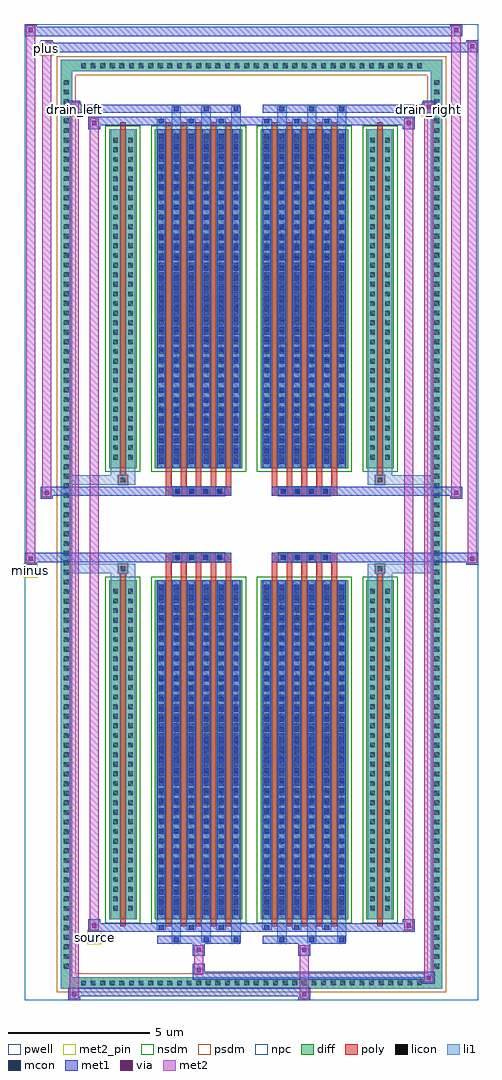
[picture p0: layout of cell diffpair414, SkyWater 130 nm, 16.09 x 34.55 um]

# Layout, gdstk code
import gdstk
lib = gdstk.Library(unit=1e-6, precision=5e-09)
def R(c, l, rs):  # rectangles x0, y0, x1, y1
    for r in rs: c.add(gdstk.rectangle(r[:2], r[2:], *l))
def A(c, l, x, y, w, h, nx, ny, dx, dy):  # array of equal rectangles
    R(c, l, [(x+i*dx, y+j*dy, x+i*dx+w, y+j*dy+h) for i in range(nx) for j in range(ny)])
def P(c, l, *ps):  # polygons
    for p in ps: c.add(gdstk.Polygon(p, *l))
pwell = (64, 44)
diff = (65, 20)
poly = (66, 20)
licon = (66, 44)
li1 = (67, 20)
mcon = (67, 44)
met1 = (68, 20)
via = (68, 44)
met2_pin = (69, 16)
met2 = (69, 20)
nsdm = (93, 44)
psdm = (94, 20)
npc = (95, 20)

diffpair414 = lib.new_cell('diffpair414')
R(diffpair414, pwell, [(-8.03,-16.84,8.03,17.71), (-5.35,-15.03,-0.01,-0.805), (0.01,-15.03,5.35,-0.805), (-5.35,0.805,-0.01,15.03), (0.01,0.805,5.35,15.03)])
A(diffpair414, diff, -6.155, -16.44, 0.41, 0.41, 36, 2, 0.34, 32.47)
A(diffpair414, diff, -6.76, -15.845, 0.41, 0.41, 1, 93, 0, 0.34)
A(diffpair414, diff, 6.35, -15.845, 0.41, 0.41, 1, 93, 0, 0.34)
R(diffpair414, diff, [(-6.155,-16.44,6.155,-16.03), (-6.76,-15.845,-6.35,15.845), (6.35,-15.845,6.76,15.845), (-5.04,-13.985,-4.06,-1.985), (-3.42,-13.985,-0.32,-1.985), (0.32,-13.985,3.42,-1.985), (4.06,-13.985,5.04,-1.985), (-5.04,1.985,-4.06,13.985), (-3.42,1.985,-0.32,13.985), (0.32,1.985,3.42,13.985), (4.06,1.985,5.04,13.985), (-6.155,16.03,6.155,16.44)])
P(diffpair414, diff, [(6.76,16.44),(-6.76,16.44),(-6.76,-16.03),(-6.35,-16.03),(-6.35,16.03),(6.35,16.03),(6.35,-16.03),(-6.35,-16.03),(-6.76,-16.03),(-6.76,-16.44),(6.76,-16.44)])
A(diffpair414, poly, -3.03, -14.235, 0.2, 12.5, 5, 2, 0.53, 15.97)
A(diffpair414, poly, 0.71, -14.235, 0.2, 12.5, 5, 2, 0.53, 15.97)
A(diffpair414, poly, -3.03, -1.735, 0.2, 0.4, 5, 2, 0.53, 3.07)
A(diffpair414, poly, 0.71, -1.735, 0.2, 0.4, 5, 2, 0.53, 3.07)
A(diffpair414, poly, -2.785, -1.335, 0.33, 0.33, 4, 2, 0.5, 2.34)
A(diffpair414, poly, 0.955, -1.335, 0.33, 0.33, 4, 2, 0.5, 2.34)
R(diffpair414, poly, [(-4.65,-14.235,-4.45,-1.735), (4.45,-14.235,4.65,-1.735), (-4.715,-1.735,-4.385,-1.405), (-4.715,-1.735,-4.385,-1.405), (4.385,-1.735,4.715,-1.405), (4.385,-1.735,4.715,-1.405), (-3.03,-1.335,-0.71,-1.005), (0.71,-1.335,3.03,-1.005), (-3.03,1.005,-0.71,1.335), (0.71,1.005,3.03,1.335), (-4.715,1.405,-4.385,1.735), (-4.715,1.405,-4.385,1.735), (4.385,1.405,4.715,1.735), (4.385,1.405,4.715,1.735), (-4.65,1.735,-4.45,14.235), (4.45,1.735,4.65,14.235)])
A(diffpair414, licon, -6.035, -16.32, 0.17, 0.17, 36, 2, 0.34, 32.47)
A(diffpair414, licon, -6.64, -15.725, 0.17, 0.17, 1, 93, 0, 0.34)
A(diffpair414, licon, 6.47, -15.725, 0.17, 0.17, 1, 93, 0, 0.34)
A(diffpair414, licon, -4.9, -13.68, 0.17, 0.17, 1, 34, 0, 0.34)
A(diffpair414, licon, -4.37, -13.68, 0.17, 0.17, 1, 34, 0, 0.34)
A(diffpair414, licon, -3.28, -13.68, 0.17, 0.17, 6, 34, 0.53, 0.34)
A(diffpair414, licon, 0.46, -13.68, 0.17, 0.17, 6, 34, 0.53, 0.34)
A(diffpair414, licon, 4.2, -13.68, 0.17, 0.17, 1, 34, 0, 0.34)
A(diffpair414, licon, 4.73, -13.68, 0.17, 0.17, 1, 34, 0, 0.34)
A(diffpair414, licon, -2.705, -1.255, 0.17, 0.17, 4, 2, 0.5, 2.34)
A(diffpair414, licon, 1.035, -1.255, 0.17, 0.17, 4, 2, 0.5, 2.34)
A(diffpair414, licon, -4.9, 2.29, 0.17, 0.17, 1, 34, 0, 0.34)
A(diffpair414, licon, -4.37, 2.29, 0.17, 0.17, 1, 34, 0, 0.34)
A(diffpair414, licon, -3.28, 2.29, 0.17, 0.17, 6, 34, 0.53, 0.34)
A(diffpair414, licon, 0.46, 2.29, 0.17, 0.17, 6, 34, 0.53, 0.34)
A(diffpair414, licon, 4.2, 2.29, 0.17, 0.17, 1, 34, 0, 0.34)
A(diffpair414, licon, 4.73, 2.29, 0.17, 0.17, 1, 34, 0, 0.34)
R(diffpair414, licon, [(-4.635,-1.655,-4.465,-1.485), (4.465,-1.655,4.635,-1.485), (-4.635,1.485,-4.465,1.655), (4.465,1.485,4.635,1.655)])
A(diffpair414, li1, -6.115, -16.4, 0.33, 0.33, 36, 2, 0.34, 32.47)
A(diffpair414, li1, -6.72, -15.805, 0.33, 0.33, 1, 93, 0, 0.34)
A(diffpair414, li1, 6.39, -15.805, 0.33, 0.33, 1, 93, 0, 0.34)
A(diffpair414, li1, -2.83, -14.79, 0.33, 0.805, 3, 2, 1.06, 28.775)
A(diffpair414, li1, -2.75, -14.79, 0.17, 0.17, 3, 2, 1.06, 29.41)
A(diffpair414, li1, 0.91, -14.79, 0.33, 0.805, 3, 2, 1.06, 28.775)
A(diffpair414, li1, 0.99, -14.79, 0.17, 0.17, 3, 2, 1.06, 29.41)
A(diffpair414, li1, -3.36, -14.36, 0.33, 0.375, 3, 2, 1.06, 28.345)
A(diffpair414, li1, -3.28, -14.36, 0.17, 0.17, 3, 2, 1.06, 28.55)
A(diffpair414, li1, 0.38, -14.36, 0.33, 0.375, 3, 2, 1.06, 28.345)
A(diffpair414, li1, 0.46, -14.36, 0.17, 0.17, 3, 2, 1.06, 28.55)
A(diffpair414, li1, -3.36, -13.985, 0.33, 12, 6, 2, 0.53, 15.97)
A(diffpair414, li1, 0.38, -13.985, 0.33, 12, 6, 2, 0.53, 15.97)
A(diffpair414, li1, -3.28, -13.83, 0.17, 0.17, 6, 33, 0.53, 0.36)
A(diffpair414, li1, -3.28, -13.83, 0.17, 11.69, 6, 2, 0.53, 15.97)
A(diffpair414, li1, 0.46, -13.83, 0.17, 0.17, 6, 33, 0.53, 0.36)
A(diffpair414, li1, 0.46, -13.83, 0.17, 11.69, 6, 2, 0.53, 15.97)
A(diffpair414, li1, -4.98, -13.76, 0.33, 0.33, 1, 34, 0, 0.34)
A(diffpair414, li1, -4.45, -13.76, 0.33, 0.33, 1, 34, 0, 0.34)
A(diffpair414, li1, -3.36, -13.76, 0.33, 0.33, 6, 34, 0.53, 0.34)
A(diffpair414, li1, 0.38, -13.76, 0.33, 0.33, 6, 34, 0.53, 0.34)
A(diffpair414, li1, 4.12, -13.76, 0.33, 0.33, 1, 34, 0, 0.34)
A(diffpair414, li1, 4.65, -13.76, 0.33, 0.33, 1, 34, 0, 0.34)
A(diffpair414, li1, -2.785, -1.335, 0.33, 0.33, 4, 2, 0.5, 2.34)
A(diffpair414, li1, 0.955, -1.335, 0.33, 0.33, 4, 2, 0.5, 2.34)
A(diffpair414, li1, -3.28, 2.14, 0.17, 0.17, 6, 33, 0.53, 0.36)
A(diffpair414, li1, 0.46, 2.14, 0.17, 0.17, 6, 33, 0.53, 0.36)
A(diffpair414, li1, -4.98, 2.21, 0.33, 0.33, 1, 34, 0, 0.34)
A(diffpair414, li1, -4.45, 2.21, 0.33, 0.33, 1, 34, 0, 0.34)
A(diffpair414, li1, -3.36, 2.21, 0.33, 0.33, 6, 34, 0.53, 0.34)
A(diffpair414, li1, 0.38, 2.21, 0.33, 0.33, 6, 34, 0.53, 0.34)
A(diffpair414, li1, 4.12, 2.21, 0.33, 0.33, 1, 34, 0, 0.34)
A(diffpair414, li1, 4.65, 2.21, 0.33, 0.33, 1, 34, 0, 0.34)
R(diffpair414, li1, [(-6.76,-16.44,-6.35,-16.03), (-6.76,-16.44,-6.35,-16.03), (-6.35,-16.44,6.35,-16.03), (6.35,-16.44,6.76,-16.03), (6.35,-16.44,6.76,-16.03), (-6.76,-16.03,-6.35,16.03), (6.35,-16.03,6.76,16.03), (-4.98,-13.985,-4.65,-1.985), (-4.45,-13.985,-4.12,-1.985), (4.12,-13.985,4.45,-1.985), (4.65,-13.985,4.98,-1.985), (-4.98,-1.985,-4.65,-1.405), (-4.45,-1.985,-4.12,-1.405), (4.12,-1.985,4.45,-1.405), (4.65,-1.985,4.98,-1.405), (-6.76,-1.735,-4.715,-1.405), (-4.98,-1.735,-4.715,-1.405), (-4.715,-1.735,-4.385,-1.405), (-4.385,-1.735,-4.12,-1.405), (4.12,-1.735,4.385,-1.405), (4.385,-1.735,4.715,-1.405), (4.385,-1.735,6.76,-1.405), (4.715,-1.735,4.98,-1.405), (-6.76,1.405,-4.715,1.735), (-4.98,1.405,-4.715,1.735), (-4.98,1.405,-4.65,1.985), (-4.715,1.405,-4.385,1.735), (-4.45,1.405,-4.12,1.985), (-4.385,1.405,-4.12,1.735), (4.12,1.405,4.385,1.735), (4.12,1.405,4.45,1.985), (4.385,1.405,4.715,1.735), (4.385,1.405,6.76,1.735), (4.65,1.405,4.98,1.985), (4.715,1.405,4.98,1.735), (-4.98,1.985,-4.65,13.985), (-4.45,1.985,-4.12,13.985), (4.12,1.985,4.45,13.985), (4.65,1.985,4.98,13.985), (-6.76,16.03,-6.35,16.44), (-6.76,16.03,-6.35,16.44), (-6.35,16.03,6.35,16.44), (6.35,16.03,6.76,16.44), (6.35,16.03,6.76,16.44)])
A(diffpair414, mcon, -2.75, -14.79, 0.17, 0.17, 3, 2, 1.06, 29.41)
A(diffpair414, mcon, 0.99, -14.79, 0.17, 0.17, 3, 2, 1.06, 29.41)
A(diffpair414, mcon, -3.28, -14.36, 0.17, 0.17, 3, 2, 1.06, 28.55)
A(diffpair414, mcon, 0.46, -14.36, 0.17, 0.17, 3, 2, 1.06, 28.55)
A(diffpair414, mcon, -3.28, -13.83, 0.17, 0.17, 6, 33, 0.53, 0.36)
A(diffpair414, mcon, 0.46, -13.83, 0.17, 0.17, 6, 33, 0.53, 0.36)
A(diffpair414, mcon, -2.705, -1.255, 0.17, 0.17, 4, 2, 0.5, 2.34)
A(diffpair414, mcon, 1.035, -1.255, 0.17, 0.17, 4, 2, 0.5, 2.34)
A(diffpair414, mcon, -3.28, 2.14, 0.17, 0.17, 6, 33, 0.53, 0.36)
A(diffpair414, mcon, 0.46, 2.14, 0.17, 0.17, 6, 33, 0.53, 0.36)
A(diffpair414, met1, -2.81, -14.85, 0.29, 0.29, 3, 2, 1.06, 29.41)
A(diffpair414, met1, 0.93, -14.85, 0.29, 0.29, 3, 2, 1.06, 29.41)
A(diffpair414, met1, -3.34, -14.42, 0.29, 0.29, 3, 2, 1.06, 28.55)
A(diffpair414, met1, 0.4, -14.42, 0.29, 0.29, 3, 2, 1.06, 28.55)
A(diffpair414, met1, -3.34, -13.985, 0.29, 12, 6, 2, 0.53, 15.97)
A(diffpair414, met1, 0.4, -13.985, 0.29, 12, 6, 2, 0.53, 15.97)
A(diffpair414, met1, -3.34, -13.89, 0.29, 0.29, 6, 33, 0.53, 0.36)
A(diffpair414, met1, 0.4, -13.89, 0.29, 0.29, 6, 33, 0.53, 0.36)
A(diffpair414, met1, -2.765, -1.315, 0.29, 0.29, 4, 2, 0.5, 2.34)
A(diffpair414, met1, 0.975, -1.315, 0.29, 0.29, 4, 2, 0.5, 2.34)
A(diffpair414, met1, -3.34, 2.08, 0.29, 0.29, 6, 33, 0.53, 0.36)
A(diffpair414, met1, 0.4, 2.08, 0.29, 0.29, 6, 33, 0.53, 0.36)
R(diffpair414, met1, [(-6.49,-16.84,-6.06,-16.41), (1.655,-16.84,2.085,-16.41), (-6.49,-16.7,2.085,-16.41), (6.06,-16.27,6.49,-15.84), (-2.085,-16.13,6.49,-15.84), (-2.085,-15.99,-1.655,-15.56), (-2.085,-15.28,-1.655,-14.85), (1.655,-15.28,2.085,-14.85), (-3.34,-14.85,-0.4,-14.56), (0.4,-14.85,3.34,-14.56), (-5.78,-14.42,-5.35,-13.99), (-5.78,-14.42,-3.34,-14.13), (-3.34,-14.42,-0.4,-14.13), (-0.4,-14.42,0.4,-14.13), (0.4,-14.42,3.34,-14.13), (3.34,-14.42,5.78,-14.13), (5.35,-14.42,5.78,-13.99), (-8.03,-1.435,-7.6,-1.005), (7.6,-1.435,8.03,-1.005), (-8.03,-1.335,-0.71,-1.005), (-3.03,-1.335,-0.71,-1.005), (0.71,-1.335,3.03,-1.005), (0.71,-1.335,8.03,-1.005), (-7.46,0.905,-7.03,1.335), (7.03,0.905,7.46,1.335), (-7.46,1.005,-3.03,1.335), (-3.03,1.005,-0.71,1.335), (0.71,1.005,3.03,1.335), (3.03,1.005,7.46,1.335), (-5.78,13.99,-5.35,14.42), (5.35,13.99,5.78,14.42), (-5.78,14.13,-3.34,14.42), (-3.34,14.13,-0.4,14.42), (-0.4,14.13,0.4,14.42), (0.4,14.13,3.34,14.42), (3.34,14.13,5.78,14.42), (-6.49,14.56,-6.06,14.99), (-6.49,14.56,-3.34,14.85), (-3.34,14.56,-0.4,14.85), (0.4,14.56,3.34,14.85), (3.34,14.56,6.49,14.85), (6.06,14.56,6.49,14.99), (-7.46,16.71,-7.03,17.14), (-7.46,16.71,-5.35,17.04), (-5.35,16.71,5.35,17.04), (5.35,16.71,8.03,17.04), (7.6,16.71,8.03,17.14), (-8.03,17.28,-7.6,17.71), (-8.03,17.28,-5.35,17.61), (-5.35,17.28,5.35,17.61), (5.35,17.28,7.46,17.61), (7.03,17.28,7.46,17.71)])
R(diffpair414, via, [(-6.35,-16.7,-6.2,-16.55), (1.795,-16.7,1.945,-16.55), (6.2,-16.13,6.35,-15.98), (-1.945,-15.85,-1.795,-15.7), (-1.945,-15.14,-1.795,-14.99), (1.795,-15.14,1.945,-14.99), (-5.64,-14.28,-5.49,-14.13), (5.49,-14.28,5.64,-14.13), (-7.89,-1.295,-7.74,-1.145), (7.74,-1.295,7.89,-1.145), (-7.32,1.045,-7.17,1.195), (7.17,1.045,7.32,1.195), (-5.64,14.13,-5.49,14.28), (5.49,14.13,5.64,14.28), (-6.35,14.7,-6.2,14.85), (6.2,14.7,6.35,14.85), (-7.32,16.85,-7.17,17), (7.74,16.85,7.89,17), (-7.89,17.42,-7.74,17.57), (7.17,17.42,7.32,17.57)])
R(diffpair414, met2_pin, [(-5.815,-14.87,-5.315,-14.37), (-8.065,-1.885,-7.565,-1.385), (-6.525,14.44,-6.025,14.94), (6.025,14.44,6.525,14.94), (-7.495,16.59,-6.995,17.09)])
R(diffpair414, met2, [(-6.44,-16.79,-6.11,-16.46), (-6.44,-16.79,-6.11,14.94), (1.705,-16.79,2.035,-16.46), (1.705,-16.46,2.035,-15.23), (6.11,-16.22,6.44,-15.89), (6.11,-16.22,6.44,14.94), (-2.035,-15.94,-1.705,-15.61), (-2.035,-15.61,-1.705,-15.23), (-2.035,-15.23,-1.705,-14.9), (1.705,-15.23,2.035,-14.9), (-5.73,-14.37,-5.4,-14.04), (-5.73,-14.37,-5.4,14.37), (5.4,-14.37,5.73,-14.04), (5.4,-14.37,5.73,14.37), (-7.98,-1.385,-7.65,-1.055), (-7.98,-1.385,-7.65,17.66), (7.65,-1.385,7.98,-1.055), (7.65,-1.385,7.98,17.09), (-7.41,0.955,-7.08,1.285), (-7.41,0.955,-7.08,17.09), (7.08,0.955,7.41,1.285), (7.08,0.955,7.41,17.66), (-5.73,14.04,-5.4,14.37), (5.4,14.04,5.73,14.37), (-6.44,14.61,-6.11,14.94), (6.11,14.61,6.44,14.94), (-7.41,16.76,-7.08,17.09), (7.65,16.76,7.98,17.09), (-7.98,17.33,-7.65,17.66), (7.08,17.33,7.41,17.66)])
P(diffpair414, met2, [(7.98,-1.385),(7.98,-1.385),(7.98,-1.055),(7.98,-1.055)],
  [(7.98,16.76),(7.98,16.76),(7.98,17.09),(7.98,17.09)],
  [(-7.65,-1.385),(-7.65,-1.385),(-7.65,-1.055),(-7.65,-1.055)],
  [(-7.65,17.33),(-7.65,17.33),(-7.65,17.66),(-7.65,17.66)],
  [(7.41,0.955),(7.41,0.955),(7.41,1.285),(7.41,1.285)],
  [(7.41,17.33),(7.41,17.33),(7.41,17.66),(7.41,17.66)],
  [(-7.08,0.955),(-7.08,0.955),(-7.08,1.285),(-7.08,1.285)],
  [(-7.08,16.76),(-7.08,16.76),(-7.08,17.09),(-7.08,17.09)],
  [(-6.11,-16.79),(-6.11,-16.79),(-6.11,-16.46),(-6.11,-16.46)],
  [(-6.11,14.61),(-6.11,14.61),(-6.11,14.94),(-6.11,14.94)],
  [(6.44,-16.22),(6.44,-16.22),(6.44,-15.89),(6.44,-15.89)],
  [(6.44,14.61),(6.44,14.61),(6.44,14.94),(6.44,14.94)],
  [(-5.4,-14.37),(-5.4,-14.37),(-5.4,-14.04),(-5.4,-14.04)],
  [(-5.4,14.04),(-5.4,14.04),(-5.4,14.37),(-5.4,14.37)],
  [(5.73,-14.37),(5.73,-14.37),(5.73,-14.04),(5.73,-14.04)],
  [(5.73,14.04),(5.73,14.04),(5.73,14.37),(5.73,14.37)])
R(diffpair414, nsdm, [(-5.17,-14.115,-3.93,-1.855), (-3.55,-14.115,-0.19,-1.855), (0.19,-14.115,3.55,-1.855), (3.93,-14.115,5.17,-1.855), (-5.17,1.855,-3.93,14.115), (-3.55,1.855,-0.19,14.115), (0.19,1.855,3.55,14.115), (3.93,1.855,5.17,14.115)])
P(diffpair414, psdm, [(6.89,16.57),(-6.89,16.57),(-6.89,-15.9),(-6.22,-15.9),(-6.22,15.9),(6.22,15.9),(6.22,-15.9),(-6.22,-15.9),(-6.89,-15.9),(-6.89,-16.57),(6.89,-16.57)])
A(diffpair414, npc, -2.805, -1.355, 0.37, 0.37, 4, 2, 0.5, 2.34)
A(diffpair414, npc, 0.935, -1.355, 0.37, 0.37, 4, 2, 0.5, 2.34)
R(diffpair414, npc, [(-4.735,-1.755,-4.365,-1.385), (4.365,-1.755,4.735,-1.385), (-2.805,-1.355,-1.935,-0.985), (-2.805,-1.355,-1.935,-0.985), (-2.305,-1.355,-1.435,-0.985), (-2.305,-1.355,-1.435,-0.985), (-1.805,-1.355,-0.935,-0.985), (-1.805,-1.355,-0.935,-0.985), (0.935,-1.355,1.805,-0.985), (0.935,-1.355,1.805,-0.985), (1.435,-1.355,2.305,-0.985), (1.435,-1.355,2.305,-0.985), (1.935,-1.355,2.805,-0.985), (1.935,-1.355,2.805,-0.985), (-2.805,0.985,-1.935,1.355), (-2.805,0.985,-1.935,1.355), (-2.305,0.985,-1.435,1.355), (-2.305,0.985,-1.435,1.355), (-1.805,0.985,-0.935,1.355), (-1.805,0.985,-0.935,1.355), (0.935,0.985,1.805,1.355), (0.935,0.985,1.805,1.355), (1.435,0.985,2.305,1.355), (1.435,0.985,2.305,1.355), (1.935,0.985,2.805,1.355), (1.935,0.985,2.805,1.355), (-4.735,1.385,-4.365,1.755), (4.365,1.385,4.735,1.755)])
diffpair414.add(gdstk.Label('minus', (-7.815,-1.635), layer=69, texttype=5))
diffpair414.add(gdstk.Label('drain_right', (6.275,14.69), layer=69, texttype=5))
diffpair414.add(gdstk.Label('drain_left', (-6.275,14.69), layer=69, texttype=5))
diffpair414.add(gdstk.Label('source', (-5.565,-14.62), layer=69, texttype=5))
diffpair414.add(gdstk.Label('plus', (-7.245,16.84), layer=69, texttype=5))

lib.write_gds('diffpair414.gds')
